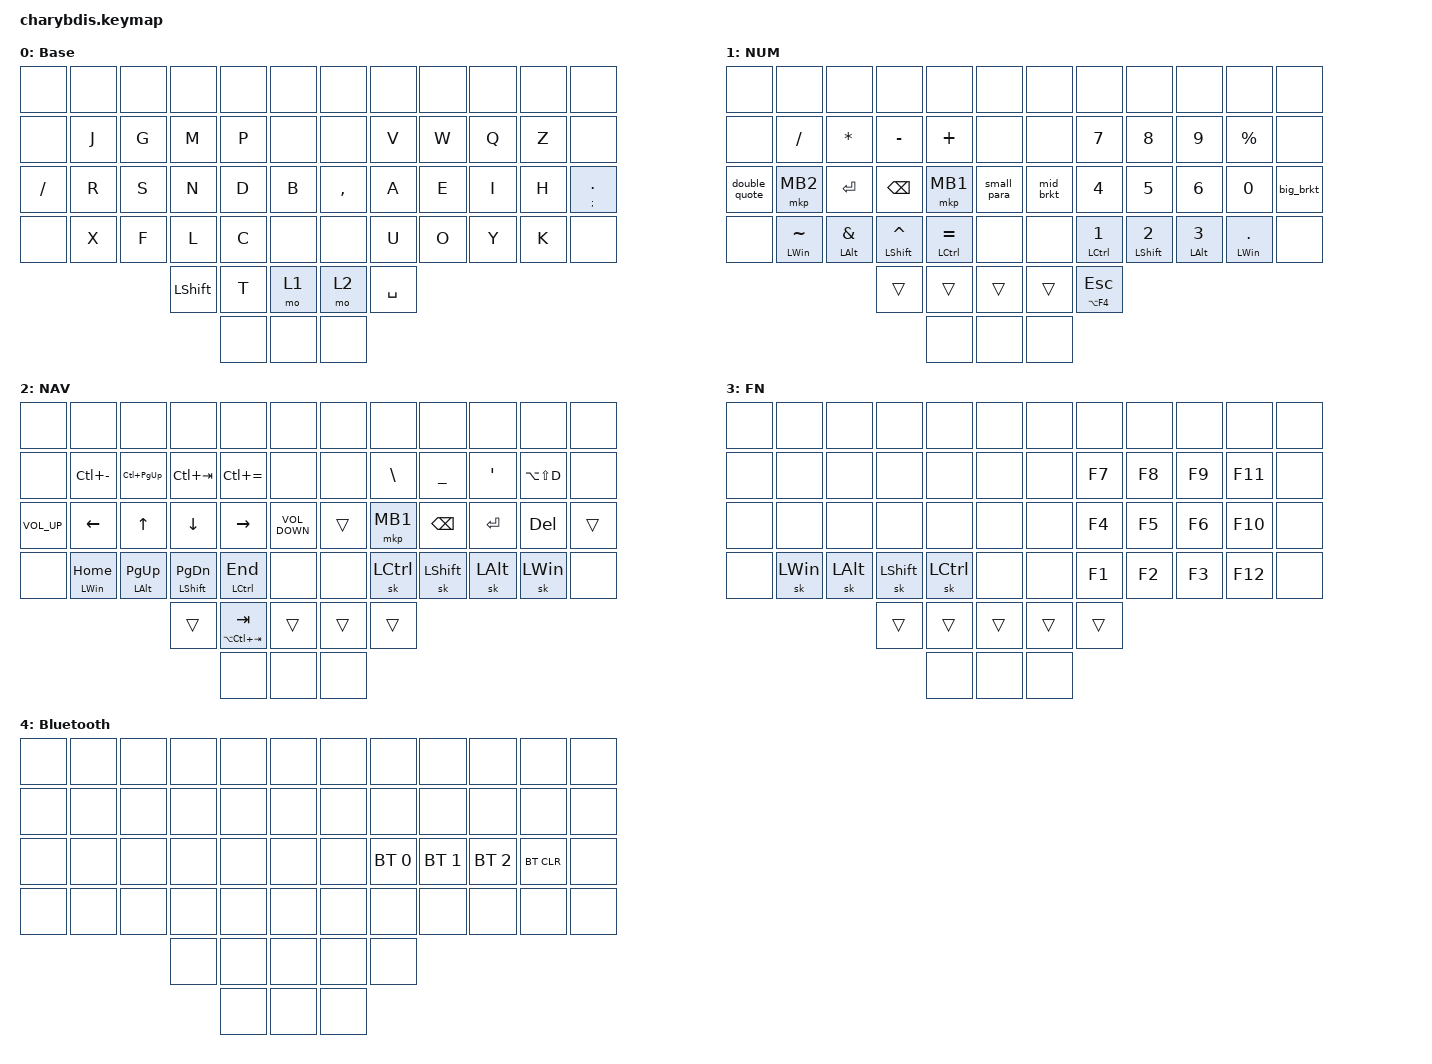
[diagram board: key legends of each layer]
#include <behaviors.dtsi>
#include <dt-bindings/zmk/bt.h>
#include <dt-bindings/zmk/keys.h>
#include <dt-bindings/zmk/mouse.h>

&lt {
    tapping-term-ms = <200>;
    flavor = "balanced";
    quick-tap-ms = <150>;
};

&mt { flavor = "balanced"; };

/ {
    tdDel: DEL_BSPACE {
        compatible = "zmk,behavior-tap-dance";
        label = "del_bspace";
        #binding-cells = <0>;
        tapping-term-ms = <200>;
        bindings = <&kp BSPC>, <&kp DEL>;
    };

    combos {
        compatible = "zmk,combos";

        princ_combo {
            bindings = <&princ>;
            key-positions = <19 20 21>;
            timeout-ms = <30>;
            layers = <2>;
        };

        Bluetooth_layer {
            bindings = <&bootloader>;
            key-positions = <13 22>;
            timeout-ms = <30>;
            layers = <2>;
        };

        Fn_layer_combo {
            bindings = <&sl 3>;
            key-positions = <50 51>;
        };
    };

    macros {
        princ: princ {
            compatible = "zmk,behavior-macro";
            #binding-cells = <0>;
            bindings = <&none &kp EXCL &kp AT &kp POUND &kp DLLR &kp PRCNT &kp CARET &kp N1 &kp N2 &kp N3 &kp LS(P) &kp R &kp I &kp N &kp C &kp RET>;
            label = "PRINC";
        };

        small_para: small_para {
            compatible = "zmk,behavior-macro";
            #binding-cells = <0>;
            bindings = <&none &kp LPAR &kp RPAR &kp LEFT>;
            label = "SMALL_PARA";
        };

        mid_brkt: mid_brkt {
            compatible = "zmk,behavior-macro";
            #binding-cells = <0>;
            bindings = <&none &kp LBKT &kp RIGHT_BRACKET &kp LEFT>;
            label = "MID_BRKT";
        };

        double_quote: new_macro {
            compatible = "zmk,behavior-macro";
            #binding-cells = <0>;
            bindings = <&none &kp DQT &kp DQT &kp LEFT_ARROW>;
            label = "NEW_MACRO";
        };

        big_brkt: big_brkt {
            compatible = "zmk,behavior-macro";
            #binding-cells = <0>;
            bindings = <&none &kp LEFT_BRACE &kp RIGHT_BRACE &kp LEFT>;
            label = "BIG_BRKT";
        };
    };

    behaviors {
    };

    keymap {
        compatible = "zmk,keymap";

        Base {
            bindings = <
&none      &none  &none  &none           &none  &none    &none      &none      &none  &none  &none  &none
&none      &kp J  &kp G  &kp M           &kp P  &none    &none      &kp V      &kp W  &kp Q  &kp Z  &none
&kp SLASH  &kp R  &kp S  &kp N           &kp D  &kp B    &kp COMMA  &kp A      &kp E  &kp I  &kp H  &mt SEMICOLON PERIOD
&none      &kp X  &kp F  &kp L           &kp C  &none    &none      &kp U      &kp O  &kp Y  &kp K  &none
                         &kp LEFT_SHIFT  &kp T  &mo 1    &mo 2      &kp SPACE
                                         &none  &none    &none
            >;

            trackball-bindings = <&tmv_coarse>;
        };

        NUM {
            bindings = <
&none          &none           &none                   &none             &none            &none          &none      &none               &none                &none                  &none            &none
&none          &kp SLASH       &kp ASTERISK            &kp MINUS         &kp PLUS         &none          &none      &kp NUMBER_7        &kp NUMBER_8         &kp NUMBER_9           &kp PERCENT      &none
&double_quote  &mkp MB2        &kp ENTER               &kp BACKSPACE     &mkp MB1         &small_para    &mid_brkt  &kp NUMBER_4        &kp N5               &kp NUMBER_6           &kp NUMBER_0     &big_brkt
&none          &mt LWIN TILDE  &mt LEFT_ALT AMPERSAND  &mt LSHIFT CARET  &mt LCTRL EQUAL  &none          &none      &mt LCTRL NUMBER_1  &mt LSHIFT NUMBER_2  &mt LEFT_ALT NUMBER_3  &mt LWIN PERIOD  &none
                                                       &trans            &trans           &trans         &trans     &mt LA(F4) ESC
                                                                         &none            &none          &none
            >;

            //trackball-bindings = <&tmv_fine>;//精准指针

            trackball-bindings = <&tmv_coarse>;
        };

        NAV {
            bindings = <
&none            &none              &none                 &none                 &none                &none                &none   &none          &none           &none         &none          &none
&none            &kp LC(MINUS)      &kp LC(PG_UP)         &kp LC(TAB)           &kp LC(EQUAL)        &none                &none   &kp BACKSLASH  &kp UNDERSCORE  &kp SQT       &kp LA(LS(D))  &none
&kp C_VOLUME_UP  &kp LEFT_ARROW     &kp UP_ARROW          &kp DOWN_ARROW        &kp RIGHT_ARROW      &kp C_VOLUME_DOWN    &trans  &mkp MB1       &kp BACKSPACE   &kp ENTER     &kp DELETE     &trans
&none            &mt LEFT_WIN HOME  &mt LEFT_ALT PAGE_UP  &mt LSHIFT PAGE_DOWN  &mt LCTRL END        &none                &none   &sk LCTRL      &sk LSHIFT      &sk LEFT_ALT  &sk LWIN       &none
                                                          &trans                &mt LA(LC(TAB)) TAB  &trans               &trans  &trans
                                                                                &none                &none                &none
            >;
        };

        FN {
            bindings = <
&none  &none     &none         &none       &none      &none     &none   &none   &none   &none   &none    &none
&none  &none     &none         &none       &none      &none     &none   &kp F7  &kp F8  &kp F9  &kp F11  &none
&none  &none     &none         &none       &none      &none     &none   &kp F4  &kp F5  &kp F6  &kp F10  &none
&none  &sk LWIN  &sk LEFT_ALT  &sk LSHIFT  &sk LCTRL  &none     &none   &kp F1  &kp F2  &kp F3  &kp F12  &none
                               &trans      &trans     &trans    &trans  &trans
                                           &none      &none     &none
            >;
        };

        Bluetooth {
            bindings = <
&none  &none  &none  &none  &none  &none    &none  &none         &none         &none         &none       &none
&none  &none  &none  &none  &none  &none    &none  &none         &none         &none         &none       &none
&none  &none  &none  &none  &none  &none    &none  &bt BT_SEL 0  &bt BT_SEL 1  &bt BT_SEL 2  &bt BT_CLR  &none
&none  &none  &none  &none  &none  &none    &none  &none         &none         &none         &none       &none
                     &none  &none  &none    &none  &none
                            &none  &none    &none
            >;
        };
    };
};
